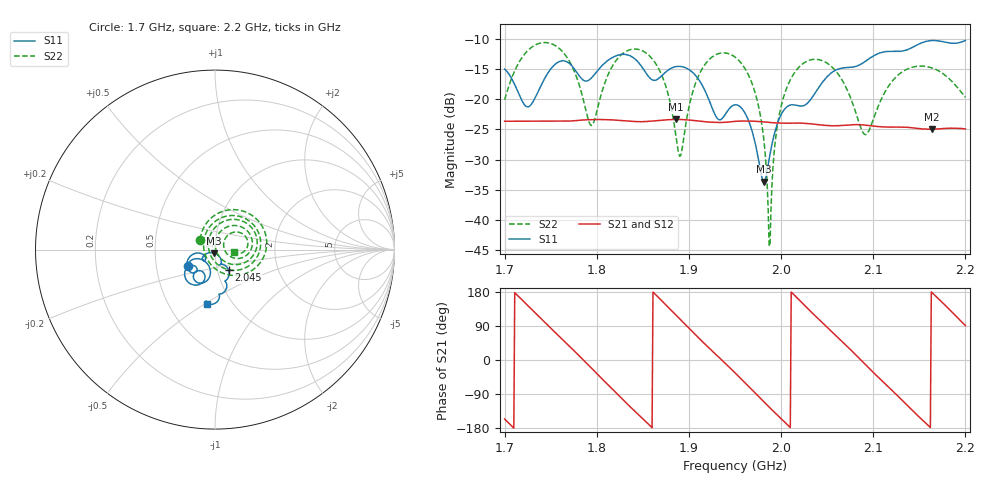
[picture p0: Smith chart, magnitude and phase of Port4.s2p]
# Hz S RI R 50
! CMT, CMT808U, 21440046, 21.4.3/4
! Date: 12/11/2025 6:24:12 PM
! Data: Format (Calibration Info)
! Freq	S11:Re/Im(F2)	S41:Re/Im(F2)	S14:Re/Im(F2)	S44:Re/Im(F2)
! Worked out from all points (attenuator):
!   501 points, 1.7 GHz to 2.2 GHz, reference 50 ohm
!   highest |S21| = -23.36 dB at 1.886 GHz (marker M1); lowest = -25.0 dB at 2.164 GHz (marker M2)
!   lowest |S11| = -33.7 dB at 1.981 GHz (marker M3), VSWR 1.04, Z = 49.3 - j1.93 ohm
!   |S11| at or under -10 dB: start of sweep to end of sweep
!   |S22| runs from -44.3 to -10.6 dB; largest |S21 - S12| = 0.00068
!   S11 on the Smith chart (normalised r, x): 1.7 GHz: 0.72, -0.13; 2.045 GHz: 1.13, -0.27; 2.2 GHz: 0.77, -0.51
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1.7e9  -0.153 -0.0898  -0.0599 -0.027  -0.0595 -0.0273  -0.0817 0.0558
1.724e9  -0.0584 -0.064  -0.0548 0.0363  -0.0549 0.0359  0.1089 0.2225
1.743e9  -0.0276 -0.1438  -0.0126 0.0646  -0.013 0.0643  0.2755 0.1044
1.784e9  -0.0888 -0.1168  0.067 0.00433  0.0668 0.00479  0.00409 -0.109
1.795e9  -0.0571 -0.1411  0.0623 -0.0268  0.0623 -0.0263  -0.0605 -0.00633
1.822e9  -0.1199 -0.1966  0.000609 -0.067  0.00113 -0.0668  0.0989 0.1899
1.867e9  -0.0999 -0.1093  -0.0643 0.0172  -0.0643 0.0167  0.1412 -0.1116
1.886e9  -0.1396 -0.1233  -0.0323 0.0598  -0.0327 0.0594  -0.0167 -0.046
1.891e9  -0.1502 -0.1108  -0.0187 0.0653  -0.0191 0.065  -0.034 -0.00169
1.918e9  -0.113 -0.0219  0.0494 0.0422  0.049 0.0425  0.1011 0.1685
1.95e9  -0.0665 -0.0603  0.0545 -0.0364  0.0546 -0.0359  0.223 -0.0154
1.969e9  -0.0479 -0.0224  0.0108 -0.0648  0.0114 -0.0647  0.1023 -0.0831
1.981e9  -0.00688 -0.0195  -0.0219 -0.061  -0.0214 -0.0611  0.0256 -0.041
1.988e9  0.0162 -0.031  -0.0381 -0.0516  -0.0377 -0.0518  0.004 0.00455
1.993e9  0.0282 -0.0445  -0.0477 -0.0424  -0.0472 -0.0428  0.00232 0.0398
2.001e9  0.0354 -0.0683  -0.0583 -0.0247  -0.0581 -0.0252  0.0221 0.0908
2.034e9  0.0557 -0.088  -0.0345 0.0519  -0.0349 0.0516  0.1969 0.0813
2.045e9  0.076 -0.1157  -0.00825 0.0604  -0.0088 0.0603  0.2069 0.0217
2.091e9  0.0654 -0.194  0.0599 -0.0118  0.0599 -0.0113  0.0503 0.00833
2.117e9  0.0326 -0.2467  0.0179 -0.056  0.0183 -0.0557  0.0907 0.0926
2.164e9  -0.0229 -0.3053  -0.0564 0.00261  -0.0565 0.00211  0.1805 0.0159
2.2e9  -0.0429 -0.3035  -0.000848 0.0567  -0.00131 0.0567  0.1032 -0.0106
